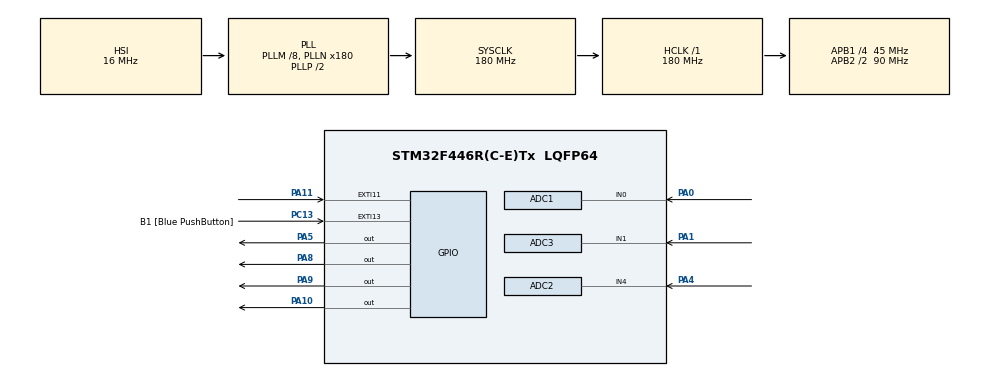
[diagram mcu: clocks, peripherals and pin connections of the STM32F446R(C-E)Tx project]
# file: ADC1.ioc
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ADC1.Channel-5\#ChannelRegularConversion=ADC_CHANNEL_0
ADC1.ClockPrescaler=ADC_CLOCK_SYNC_PCLK_DIV4
ADC1.ContinuousConvMode=ENABLE
ADC1.DMAContinuousRequests=ENABLE
ADC1.DiscontinuousConvMode=DISABLE
ADC1.EnableAnalogWatchDog=true
ADC1.HighThreshold=550
ADC1.ITMode=ENABLE
ADC1.Mode=ADC_TRIPLEMODE_REGSIMULT
ADC1.NbrOfConversion=1
ADC1.NbrOfConversionFlag=1
ADC1.Rank-5\#ChannelRegularConversion=1
ADC1.Resolution=ADC_RESOLUTION_10B
ADC1.SamplingTime-5\#ChannelRegularConversion=ADC_SAMPLETIME_15CYCLES
ADC1.ScanConvMode=ENABLE
ADC1.master=1
ADC2.Channel-19\#ChannelRegularConversion=ADC_CHANNEL_4
ADC2.ClockPrescaler=ADC_CLOCK_SYNC_PCLK_DIV4
ADC2.DMAAccessMode=ADC_DMAACCESSMODE_1
ADC2.EnableAnalogWatchDog=true
ADC2.HighThreshold=550
ADC2.ITMode=ENABLE
ADC2.Mode=ADC_TRIPLEMODE_REGSIMULT
ADC2.NbrOfConversionFlag=1
ADC2.Rank-19\#ChannelRegularConversion=1
ADC2.Resolution=ADC_RESOLUTION_10B
ADC2.SamplingTime-19\#ChannelRegularConversion=ADC_SAMPLETIME_15CYCLES
ADC2.ScanConvMode=ENABLE
ADC2.WatchdogChannel=ADC_CHANNEL_4
ADC3.Channel-11\#ChannelRegularConversion=ADC_CHANNEL_1
ADC3.ClockPrescaler=ADC_CLOCK_SYNC_PCLK_DIV4
ADC3.ContinuousConvMode=ENABLE
ADC3.DMAAccessMode=ADC_DMAACCESSMODE_1
ADC3.EnableAnalogWatchDog=true
ADC3.HighThreshold=550
ADC3.ITMode=ENABLE
ADC3.Mode=ADC_TRIPLEMODE_REGSIMULT
ADC3.NbrOfConversionFlag=1
ADC3.Rank-11\#ChannelRegularConversion=1
ADC3.Resolution=ADC_RESOLUTION_10B
ADC3.SamplingTime-11\#ChannelRegularConversion=ADC_SAMPLETIME_15CYCLES
ADC3.ScanConvMode=ENABLE
ADC3.WatchdogChannel=ADC_CHANNEL_1
Dma.ADC1.0.Direction=DMA_PERIPH_TO_MEMORY
Dma.ADC1.0.FIFOMode=DMA_FIFOMODE_DISABLE
Dma.ADC1.0.Instance=DMA2_Stream0
Dma.ADC1.0.MemDataAlignment=DMA_MDATAALIGN_HALFWORD
Dma.ADC1.0.MemInc=DMA_MINC_ENABLE
Dma.ADC1.0.Mode=DMA_CIRCULAR
Dma.ADC1.0.PeriphDataAlignment=DMA_PDATAALIGN_HALFWORD
Dma.ADC1.0.PeriphInc=DMA_PINC_DISABLE
Dma.ADC1.0.Priority=DMA_PRIORITY_VERY_HIGH
Dma.Request0=ADC1
Mcu.Family=STM32F4
Mcu.Name=STM32F446R(C-E)Tx
Mcu.Package=LQFP64
NVIC.ADC_IRQn=true\:0\:0\:false\:false\:true\:true\:true\:true
NVIC.DMA2_Stream0_IRQn=true\:0\:0\:false\:false\:true\:false\:true\:true
NVIC.EXTI15_10_IRQn=true\:0\:0\:false\:false\:true\:true\:true\:true
NVIC.PriorityGroup=NVIC_PRIORITYGROUP_0
PA0-WKUP.Signal=ADCx_IN0
PA1.Signal=ADCx_IN1
PA10.Signal=GPIO_Output
PA11.GPIO_ModeDefaultEXTI=GPIO_MODE_IT_RISING_FALLING
PA11.GPIO_PuPd=GPIO_NOPULL
PA11.Signal=GPXTI11
PA13.GPIO_Label=TMS
PA13.Mode=Serial_Wire
PA13.Signal=SYS_JTMS-SWDIO
PA14.GPIO_Label=TCK
PA14.Mode=Serial_Wire
PA14.Signal=SYS_JTCK-SWCLK
PA4.Signal=ADCx_IN4
PA5.Signal=GPIO_Output
PA8.Signal=GPIO_Output
PA9.Signal=GPIO_Output
PB3.GPIO_Label=SWO
PB3.Signal=SYS_JTDO-SWO
PC13.GPIO_Label=B1 [Blue PushButton]
PC13.GPIO_ModeDefaultEXTI=GPIO_MODE_IT_FALLING
PC13.Signal=GPXTI13
PC14-OSC32_IN.Mode=LSE-External-Oscillator
PC14-OSC32_IN.Signal=RCC_OSC32_IN
PC15-OSC32_OUT.Mode=LSE-External-Oscillator
PC15-OSC32_OUT.Signal=RCC_OSC32_OUT
PH0-OSC_IN.Mode=HSE-External-Oscillator
PH0-OSC_IN.Signal=RCC_OSC_IN
PH1-OSC_OUT.Mode=HSE-External-Oscillator
PH1-OSC_OUT.Signal=RCC_OSC_OUT
ProjectManager.HeapSize=0x200
ProjectManager.StackSize=0x400
ProjectManager.TargetToolchain=STM32CubeIDE
RCC.48MHZClocksFreq_Value=84000000
RCC.AHBFreq_Value=180000000
RCC.APB1CLKDivider=RCC_HCLK_DIV4
RCC.APB1Freq_Value=45000000
RCC.APB1TimFreq_Value=90000000
RCC.APB2CLKDivider=RCC_HCLK_DIV2
RCC.APB2Freq_Value=90000000
RCC.APB2TimFreq_Value=180000000
RCC.CortexFreq_Value=22500000
RCC.Cortex_Div=SYSTICK_CLKSOURCE_HCLK_DIV8
RCC.FLatency-AdvancedSettings=FLASH_LATENCY_5
RCC.HCLKFreq_Value=180000000
RCC.HSE_VALUE=8000000
RCC.HSI_VALUE=16000000
RCC.PLLM=8
RCC.PLLN=180
RCC.SYSCLKFreq_VALUE=180000000
RCC.SYSCLKSource=RCC_SYSCLKSOURCE_PLLCLK
RCC.USBFreq_Value=180000000
RCC.VCOOutputFreq_Value=360000000
SH.ADCx_IN0.0=ADC1_IN0,IN0
SH.ADCx_IN0.1=ADC3_IN0
SH.ADCx_IN1.0=ADC1_IN1
SH.ADCx_IN1.1=ADC2_IN1
SH.ADCx_IN1.2=ADC3_IN1,IN1
SH.ADCx_IN4.0=ADC2_IN4,IN4
board=NUCLEO-F446RE

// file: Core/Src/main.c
/* USER CODE BEGIN Header */
/**
 ******************************************************************************
 * @file           : main.c
 * @brief          : Main program body
 ******************************************************************************
 * @attention
 *
 * Copyright (c) 2023 STMicroelectronics.
 * All rights reserved.
 *
 * This software is licensed under terms that can be found in the LICENSE file
 * in the root directory of this software component.
 * If no LICENSE file comes with this software, it is provided AS-IS.
 *
 ******************************************************************************
 */
/* USER CODE END Header */
#include "main.h"

/* USER CODE BEGIN Includes */

#include <stm32f4xx.h>
#include <string.h>
#include <stdio.h>
#include <stdlib.h>
#include <math.h>
/* USER CODE END Includes */

/* USER CODE BEGIN PD */

enum status_acquisition {
	ATTENTE_SEUIL = 0,
	SEUIL_DEPASSE,
	CALCUL
};

enum status_buffer {
	VIDE = 0,
	PLEIN
};

enum num_voie {
	VOIE_1 = 0,
	VOIE_2,
	VOIE_3
};

enum nom_Buffer{
	BUFFER_A =0,
	BUFFER_B
};

#define TRUE 1
#define FALSE (!TRUE)
/* USER CODE END PD */

ADC_HandleTypeDef hadc1;
ADC_HandleTypeDef hadc2;
ADC_HandleTypeDef hadc3;
DMA_HandleTypeDef hdma_adc1;

/* USER CODE BEGIN PV */
typedef struct aquisition
{
	//uint32_t voie[3]; si on est en transfert 32 bits pour le DMA
	uint16_t voie[3];
} Acquisition_t;

// DEBUG => a terme il faut 5000
#define NBR_ECHANTILLONS (uint16_t)(1024*2)  /* echantillons par voie */
#define ADC_BUF_LEN (uint16_t)(3*NBR_ECHANTILLONS) /* Nbre total d'echantillons */
#define TAILLE_DEMI_TAB_ADC_COPY (uint16_t)(ADC_BUF_LEN/2)	/* Taille d'un 1/2 buffer de copie DMA */

volatile Acquisition_t ADC_DMA[NBR_ECHANTILLONS]; 	// buffer est utilisé par le DMA pour mettre les valeurs du CAN
volatile Acquisition_t ADC_copie[NBR_ECHANTILLONS];	// buffer pour copier les valeur ADC_DMA a chque IT du DMA
volatile Acquisition_t ADC_test[NBR_ECHANTILLONS];	// buffer pour copier les valeur ADC_DMA a chque IT du DMA

volatile uint8_t etatAcquisition;
volatile uint8_t etatBufferA, etatBufferB;
volatile uint8_t premiereVoie;
volatile uint8_t premierBuffer;

uint16_t vMax;
int16_t idxMax;

/* USER CODE END PV */

void SystemClock_Config(void);
static void MX_GPIO_Init(void);
static void MX_DMA_Init(void);
static void MX_ADC1_Init(void);
static void MX_ADC2_Init(void);
static void MX_ADC3_Init(void);

/* USER CODE BEGIN 0 */

int _write(int file, char *ptr, int len)
{
	/* Implement your write code here, this is used by puts and printf for example */
	int i=0;
	for(i=0 ; i<len ; i++)
		ITM_SendChar((*ptr++));
	return len;
}
void HAL_GPIO_EXTI_Callback(uint16_t GPIO_Pin)
{

}
/* USER CODE END 0 */

int main(void)
{

  /* MCU Configuration--------------------------------------------------------*/

  /* Reset of all peripherals, Initializes the Flash interface and the Systick. */
  HAL_Init();

  /* Configure the system clock */
  SystemClock_Config();

  /* Initialize all configured peripherals */
  MX_GPIO_Init();
  MX_DMA_Init();
  MX_ADC1_Init();
  MX_ADC2_Init();
  MX_ADC3_Init();
  /* USER CODE BEGIN 2 */

	// initialise le CAN
	etatAcquisition = ATTENTE_SEUIL;
	etatBufferA = VIDE;
	etatBufferB = VIDE;
	premiereVoie = VOIE_1;
	premierBuffer = BUFFER_A;
	HAL_GPIO_WritePin(GPIOA, GPIO_PIN_5, GPIO_PIN_RESET);

	// On demarre l'acquisition simultanee sur les 3 voies
	HAL_ADC_Start(&hadc3);
	HAL_ADC_Start(&hadc2);
	HAL_ADCEx_MultiModeStart_DMA(&hadc1,(uint32_t *)ADC_DMA, ADC_BUF_LEN);

  /* USER CODE END 2 */

  /* Infinite loop */
  /* USER CODE BEGIN WHILE */
	while (1)
	{

#if 1
		//////////////////////////////////

		// On attend la fin de l'aquistion et la phase de calcul...
		while (etatAcquisition != CALCUL);

		HAL_ADCEx_MultiModeStop_DMA(&hadc1);

		// Recherche le 'debut' du signal
		vMax = 0;
		idxMax = 0;
		for(uint16_t i=0; i<NBR_ECHANTILLONS ; i++)
		{
			if (ADC_copie[i].voie[premiereVoie] > vMax)
			{
				vMax = ADC_copie[i].voie[premiereVoie];
				idxMax = i;
			}
		}

		// on se place 100us avant la detection pour avoir la debut des mini oscillations
//		idxMax -=100;
//		if(idxMax < 0)
//		{
//			//idxMax += NBR_ECHANTILLONS; non car on a pas le 1/2 tableau precedant
//			idxMax= 0;
//		}

		// on realigne les echantillons dans le tableau test, idxMax correspond au 1er element du tableau test
		for(uint16_t j=0, i=idxMax ; j<NBR_ECHANTILLONS; j++)
		{
			ADC_test[j] = ADC_copie[i];
			i++;
			if(i>=NBR_ECHANTILLONS)
			{
				i -= NBR_ECHANTILLONS;
			}
		}

		/////////////////////////////////
#endif

		printf("\r\nVOIE 1 :\r\n");
		for(uint16_t i=0;i<NBR_ECHANTILLONS; i++)
		{
			//printf("%d,", ADC_test[i].voie[0]);
			printf("%d,", ADC_copie[i].voie[0]);
		}
		HAL_Delay(100);
		printf("\r\nVOIE 2 :\r\n");
		for(uint16_t i=0;i<NBR_ECHANTILLONS; i++)
		{
			//printf("%d,", ADC_test[i].voie[1]);
			printf("%d,", ADC_copie[i].voie[1]);
		}
		HAL_Delay(100);
		printf("\r\nVOIE 3 :\r\n");
		for(uint16_t i=0;i<NBR_ECHANTILLONS; i++)
		{
			//printf("%d,", ADC_test[i].voie[2]);
			printf("%d,", ADC_copie[i].voie[2]);
		}
		printf("          ");
		HAL_Delay(100);
		etatAcquisition = ATTENTE_SEUIL;
		etatBufferA = VIDE;
		etatBufferB = VIDE;
		premiereVoie = VOIE_1;
		premierBuffer = BUFFER_A;

		HAL_ADC_Start(&hadc3);
		HAL_ADC_Start(&hadc2);
		HAL_ADCEx_MultiModeStart_DMA(&hadc1,(uint32_t *)ADC_DMA, ADC_BUF_LEN);
		HAL_GPIO_WritePin(GPIOA, GPIO_PIN_5, GPIO_PIN_RESET);
    /* USER CODE END WHILE */

	}
}

void SystemClock_Config(void)
{
  RCC_OscInitTypeDef RCC_OscInitStruct = {0};
  RCC_ClkInitTypeDef RCC_ClkInitStruct = {0};

  /** Configure the main internal regulator output voltage
  */
  __HAL_RCC_PWR_CLK_ENABLE();
  __HAL_PWR_VOLTAGESCALING_CONFIG(PWR_REGULATOR_VOLTAGE_SCALE1);

  /** Initializes the RCC Oscillators according to the specified parameters
  * in the RCC_OscInitTypeDef structure.
  */
  RCC_OscInitStruct.OscillatorType = RCC_OSCILLATORTYPE_HSI;
  RCC_OscInitStruct.HSIState = RCC_HSI_ON;
  RCC_OscInitStruct.HSICalibrationValue = RCC_HSICALIBRATION_DEFAULT;
  RCC_OscInitStruct.PLL.PLLState = RCC_PLL_ON;
  RCC_OscInitStruct.PLL.PLLSource = RCC_PLLSOURCE_HSI;
  RCC_OscInitStruct.PLL.PLLM = 8;
  RCC_OscInitStruct.PLL.PLLN = 180;
  RCC_OscInitStruct.PLL.PLLP = RCC_PLLP_DIV2;
  RCC_OscInitStruct.PLL.PLLQ = 2;
  RCC_OscInitStruct.PLL.PLLR = 2;
  if (HAL_RCC_OscConfig(&RCC_OscInitStruct) != HAL_OK)
  {
    Error_Handler();
  }

  /** Activate the Over-Drive mode
  */
  if (HAL_PWREx_EnableOverDrive() != HAL_OK)
  {
    Error_Handler();
  }

  /** Initializes the CPU, AHB and APB buses clocks
  */
  RCC_ClkInitStruct.ClockType = RCC_CLOCKTYPE_HCLK|RCC_CLOCKTYPE_SYSCLK
                              |RCC_CLOCKTYPE_PCLK1|RCC_CLOCKTYPE_PCLK2;
  RCC_ClkInitStruct.SYSCLKSource = RCC_SYSCLKSOURCE_PLLCLK;
  RCC_ClkInitStruct.AHBCLKDivider = RCC_SYSCLK_DIV1;
  RCC_ClkInitStruct.APB1CLKDivider = RCC_HCLK_DIV4;
  RCC_ClkInitStruct.APB2CLKDivider = RCC_HCLK_DIV2;

  if (HAL_RCC_ClockConfig(&RCC_ClkInitStruct, FLASH_LATENCY_5) != HAL_OK)
  {
    Error_Handler();
  }
}

static void MX_ADC1_Init(void)
{

  ADC_MultiModeTypeDef multimode = {0};
  ADC_AnalogWDGConfTypeDef AnalogWDGConfig = {0};
  ADC_ChannelConfTypeDef sConfig = {0};

  /** Configure the global features of the ADC (Clock, Resolution, Data Alignment and number of conversion)
  */
  hadc1.Instance = ADC1;
  hadc1.Init.ClockPrescaler = ADC_CLOCK_SYNC_PCLK_DIV4;
  hadc1.Init.Resolution = ADC_RESOLUTION_10B;
  hadc1.Init.ScanConvMode = ENABLE;
  hadc1.Init.ContinuousConvMode = ENABLE;
  hadc1.Init.DiscontinuousConvMode = DISABLE;
  hadc1.Init.ExternalTrigConvEdge = ADC_EXTERNALTRIGCONVEDGE_NONE;
  hadc1.Init.ExternalTrigConv = ADC_SOFTWARE_START;
  hadc1.Init.DataAlign = ADC_DATAALIGN_RIGHT;
  hadc1.Init.NbrOfConversion = 1;
  hadc1.Init.DMAContinuousRequests = ENABLE;
  hadc1.Init.EOCSelection = ADC_EOC_SINGLE_CONV;
  if (HAL_ADC_Init(&hadc1) != HAL_OK)
  {
    Error_Handler();
  }

  /** Configure the ADC multi-mode
  */
  multimode.Mode = ADC_TRIPLEMODE_REGSIMULT;
  multimode.DMAAccessMode = ADC_DMAACCESSMODE_1;
  multimode.TwoSamplingDelay = ADC_TWOSAMPLINGDELAY_5CYCLES;
  if (HAL_ADCEx_MultiModeConfigChannel(&hadc1, &multimode) != HAL_OK)
  {
    Error_Handler();
  }

  /** Configure the analog watchdog
  */
  AnalogWDGConfig.WatchdogMode = ADC_ANALOGWATCHDOG_SINGLE_REG;
  AnalogWDGConfig.HighThreshold = 550;
  AnalogWDGConfig.LowThreshold = 0;
  AnalogWDGConfig.Channel = ADC_CHANNEL_0;
  AnalogWDGConfig.ITMode = ENABLE;
  if (HAL_ADC_AnalogWDGConfig(&hadc1, &AnalogWDGConfig) != HAL_OK)
  {
    Error_Handler();
  }

  /** Configure for the selected ADC regular channel its corresponding rank in the sequencer and its sample time.
  */
  sConfig.Channel = ADC_CHANNEL_0;
  sConfig.Rank = 1;
  sConfig.SamplingTime = ADC_SAMPLETIME_15CYCLES;
  if (HAL_ADC_ConfigChannel(&hadc1, &sConfig) != HAL_OK)
  {
    Error_Handler();
  }

}

static void MX_ADC2_Init(void)
{

  ADC_AnalogWDGConfTypeDef AnalogWDGConfig = {0};
  ADC_ChannelConfTypeDef sConfig = {0};

  /** Configure the global features of the ADC (Clock, Resolution, Data Alignment and number of conversion)
  */
  hadc2.Instance = ADC2;
  hadc2.Init.ClockPrescaler = ADC_CLOCK_SYNC_PCLK_DIV4;
  hadc2.Init.Resolution = ADC_RESOLUTION_10B;
  hadc2.Init.ScanConvMode = ENABLE;
  hadc2.Init.ContinuousConvMode = ENABLE;
  hadc2.Init.DiscontinuousConvMode = DISABLE;
  hadc2.Init.DataAlign = ADC_DATAALIGN_RIGHT;
  hadc2.Init.NbrOfConversion = 1;
  hadc2.Init.DMAContinuousRequests = DISABLE;
  hadc2.Init.EOCSelection = ADC_EOC_SINGLE_CONV;
  if (HAL_ADC_Init(&hadc2) != HAL_OK)
  {
    Error_Handler();
  }

  /** Configure the analog watchdog
  */
  AnalogWDGConfig.WatchdogMode = ADC_ANALOGWATCHDOG_SINGLE_REG;
  AnalogWDGConfig.HighThreshold = 550;
  AnalogWDGConfig.LowThreshold = 0;
  AnalogWDGConfig.Channel = ADC_CHANNEL_4;
  AnalogWDGConfig.ITMode = ENABLE;
  if (HAL_ADC_AnalogWDGConfig(&hadc2, &AnalogWDGConfig) != HAL_OK)
  {
    Error_Handler();
  }

  /** Configure for the selected ADC regular channel its corresponding rank in the sequencer and its sample time.
  */
  sConfig.Channel = ADC_CHANNEL_4;
  sConfig.Rank = 1;
  sConfig.SamplingTime = ADC_SAMPLETIME_15CYCLES;
  if (HAL_ADC_ConfigChannel(&hadc2, &sConfig) != HAL_OK)
  {
    Error_Handler();
  }

}

static void MX_ADC3_Init(void)
{

  ADC_AnalogWDGConfTypeDef AnalogWDGConfig = {0};
  ADC_ChannelConfTypeDef sConfig = {0};

  /** Configure the global features of the ADC (Clock, Resolution, Data Alignment and number of conversion)
  */
  hadc3.Instance = ADC3;
  hadc3.Init.ClockPrescaler = ADC_CLOCK_SYNC_PCLK_DIV4;
  hadc3.Init.Resolution = ADC_RESOLUTION_10B;
  hadc3.Init.ScanConvMode = ENABLE;
  hadc3.Init.ContinuousConvMode = ENABLE;
  hadc3.Init.DiscontinuousConvMode = DISABLE;
  hadc3.Init.DataAlign = ADC_DATAALIGN_RIGHT;
  hadc3.Init.NbrOfConversion = 1;
  hadc3.Init.DMAContinuousRequests = DISABLE;
  hadc3.Init.EOCSelection = ADC_EOC_SINGLE_CONV;
  if (HAL_ADC_Init(&hadc3) != HAL_OK)
  {
    Error_Handler();
  }

  /** Configure the analog watchdog
  */
  AnalogWDGConfig.WatchdogMode = ADC_ANALOGWATCHDOG_SINGLE_REG;
  AnalogWDGConfig.HighThreshold = 550;
  AnalogWDGConfig.LowThreshold = 0;
  AnalogWDGConfig.Channel = ADC_CHANNEL_1;
  AnalogWDGConfig.ITMode = ENABLE;
  if (HAL_ADC_AnalogWDGConfig(&hadc3, &AnalogWDGConfig) != HAL_OK)
  {
    Error_Handler();
  }

  /** Configure for the selected ADC regular channel its corresponding rank in the sequencer and its sample time.
  */
  sConfig.Channel = ADC_CHANNEL_1;
  sConfig.Rank = 1;
  sConfig.SamplingTime = ADC_SAMPLETIME_15CYCLES;
  if (HAL_ADC_ConfigChannel(&hadc3, &sConfig) != HAL_OK)
  {
    Error_Handler();
  }

}

static void MX_DMA_Init(void)
{

  /* DMA controller clock enable */
  __HAL_RCC_DMA2_CLK_ENABLE();

  /* DMA interrupt init */
  /* DMA2_Stream0_IRQn interrupt configuration */
  HAL_NVIC_SetPriority(DMA2_Stream0_IRQn, 0, 0);
  HAL_NVIC_EnableIRQ(DMA2_Stream0_IRQn);

}

static void MX_GPIO_Init(void)
{
  GPIO_InitTypeDef GPIO_InitStruct = {0};

  /* GPIO Ports Clock Enable */
  __HAL_RCC_GPIOC_CLK_ENABLE();
  __HAL_RCC_GPIOH_CLK_ENABLE();
  __HAL_RCC_GPIOA_CLK_ENABLE();
  __HAL_RCC_GPIOB_CLK_ENABLE();

  /*Configure GPIO pin Output Level */
  HAL_GPIO_WritePin(GPIOA, GPIO_PIN_5|GPIO_PIN_8|GPIO_PIN_9|GPIO_PIN_10, GPIO_PIN_RESET);

  /*Configure GPIO pin : B1_Pin */
  GPIO_InitStruct.Pin = B1_Pin;
  GPIO_InitStruct.Mode = GPIO_MODE_IT_FALLING;
  GPIO_InitStruct.Pull = GPIO_NOPULL;
  HAL_GPIO_Init(B1_GPIO_Port, &GPIO_InitStruct);

  /*Configure GPIO pins : PA5 PA8 PA9 PA10 */
  GPIO_InitStruct.Pin = GPIO_PIN_5|GPIO_PIN_8|GPIO_PIN_9|GPIO_PIN_10;
  GPIO_InitStruct.Mode = GPIO_MODE_OUTPUT_PP;
  GPIO_InitStruct.Pull = GPIO_NOPULL;
  GPIO_InitStruct.Speed = GPIO_SPEED_FREQ_LOW;
  HAL_GPIO_Init(GPIOA, &GPIO_InitStruct);

  /*Configure GPIO pin : PA11 */
  GPIO_InitStruct.Pin = GPIO_PIN_11;
  GPIO_InitStruct.Mode = GPIO_MODE_IT_RISING_FALLING;
  GPIO_InitStruct.Pull = GPIO_NOPULL;
  HAL_GPIO_Init(GPIOA, &GPIO_InitStruct);

  /* EXTI interrupt init*/
  HAL_NVIC_SetPriority(EXTI15_10_IRQn, 0, 0);
  HAL_NVIC_EnableIRQ(EXTI15_10_IRQn);

}

/* USER CODE BEGIN 4 */
// appelle a chaque depassement de seuil sur une voie
void HAL_ADC_LevelOutOfWindowCallback(ADC_HandleTypeDef* hadc)
{
	// On ne traite un depassement de seuil que pdt la phase d'attente de depassement
	if (etatAcquisition == ATTENTE_SEUIL)
	{
		etatAcquisition = SEUIL_DEPASSE;
		HAL_GPIO_WritePin(GPIOA, GPIO_PIN_5, GPIO_PIN_SET);

		// on memorise la voie qui a declenche le depassement de seuil, ca sera la reference pour chercher le debut du signal
		// Note : on compare des pointeurs, on ne peut pas utiliser un switch case
		if(hadc->Instance==ADC1)
		{
			premiereVoie = VOIE_1;
		}
		else
		{
			if(hadc->Instance==ADC2)
			{
				premiereVoie = VOIE_2;
			}
			else if (hadc->Instance==ADC3)
			{
				premiereVoie = VOIE_3;
			}
		}
	}

}

// appelle qd la moitie de la memoire allouee au DMA est pleine
void HAL_ADC_ConvHalfCpltCallback(ADC_HandleTypeDef* hadc)
{
	// on sauvegarde les donnees du CAN uniquement s'il y a eu un depassement
	if (etatAcquisition == SEUIL_DEPASSE)
	{
		// on recupere le premiere 1/2 partie du tableau DMA
		for (uint16_t i = 0; i < (NBR_ECHANTILLONS/2); i++) {
			ADC_copie[i] = ADC_DMA[i];
		}

		etatBufferA = PLEIN;
		// si l'autre buffer est vide, le buffer courant est le premier buffer,
		// sinon, on a fini les acquisition, on passe au calcul
		if(etatBufferB == VIDE)
		{
			premierBuffer = BUFFER_A;
		}
		else
		{
			etatAcquisition = CALCUL;
		}
	}
}
// appelle qd la deuxime partie de la memoire allouee au DMA est pleine
void HAL_ADC_ConvCpltCallback(ADC_HandleTypeDef *hadc)
{
	if (etatAcquisition == SEUIL_DEPASSE)
	{
		// on recupere le derniere 1/2 partie du tableau DMA
		//memcpy(&ADC_copie[1],&ADC_DMA[TAILLE_DEMI_TAB_ADC_COPY],TAILLE_DEMI_TAB_ADC_COPY);
		for (uint16_t i = NBR_ECHANTILLONS/2; i< NBR_ECHANTILLONS ; i++) {
			ADC_copie[i] = ADC_DMA[i];
		}

		etatBufferB = PLEIN;
		// si l'autre buffer est vide, le buffer courant est le premier buffer,
		// sinon, on a fini les acquisition, on passe au calcul
		if(etatBufferA == VIDE)
		{
			premierBuffer = BUFFER_B;
		}
		else
		{
			etatAcquisition = CALCUL;
		}
	}
}

/* USER CODE END 4 */

void Error_Handler(void)
{
	__disable_irq();
	while (1)
	{
	}
}
